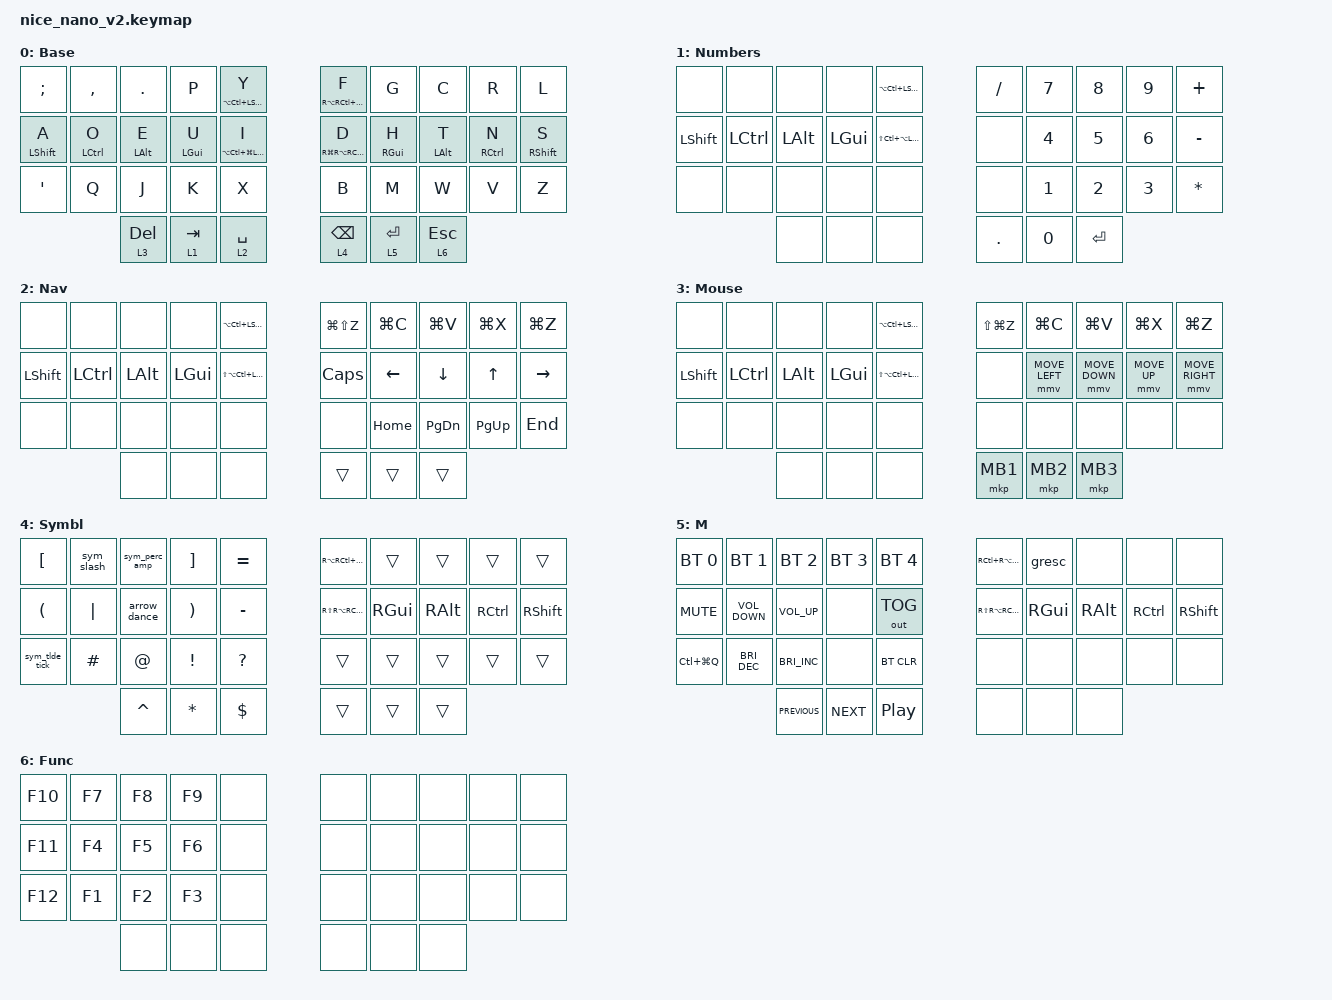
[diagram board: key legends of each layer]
#include <behaviors.dtsi>
#include <dt-bindings/zmk/bt.h>
#include <dt-bindings/zmk/keys.h>
#include <dt-bindings/zmk/outputs.h>
#include <dt-bindings/zmk/pointing.h>

/ {
    chosen { zmk,physical-layout = &foostan_corne_5col_layout; };

    behaviors {
        lh_balanced: lh_balanced {
            compatible = "zmk,behavior-hold-tap";
            label = "LH_BALANCED";
            bindings = <&kp>, <&kp>;

            #binding-cells = <2>;
            tapping-term-ms = <200>;
            quick-tap-ms = <125>;
            flavor = "tap-preferred";
            require-prior-idle-ms = <150>;
            hold-trigger-key-positions = <5 6 7 8 9 15 16 17 18 19 25 26 27 28 29 33 34 35>;
            hold-trigger-on-release;
        };

        rh_balanced: rh_balanced {
            compatible = "zmk,behavior-hold-tap";
            label = "RH_BALANCED";
            bindings = <&kp>, <&kp>;

            #binding-cells = <2>;
            tapping-term-ms = <200>;
            quick-tap-ms = <125>;
            flavor = "tap-preferred";
            hold-trigger-key-positions = <0 1 2 3 4 10 11 12 13 14 20 21 22 23 24 30 31 32>;
            require-prior-idle-ms = <150>;
            hold-trigger-on-release;
        };

        sym_slash: sym_slash {
            compatible = "zmk,behavior-mod-morph";
            label = "SYM_SLASH";
            #binding-cells = <0>;
            bindings = <&kp SLASH>, <&kp BACKSLASH>;

            mods = <(MOD_RSFT)>;
        };

        sym_tlde_tick: sym_tlde_tick {
            compatible = "zmk,behavior-mod-morph";
            label = "SYM_TLDE_TICK";
            bindings = <&kp GRAVE>, <&kp TILDE>;

            #binding-cells = <0>;
            mods = <(MOD_RSFT)>;
        };

        sym_dash: sym_dash {
            compatible = "zmk,behavior-mod-morph";
            label = "SYM_DASH";
            bindings = <&kp MINUS>, <&kp UNDERSCORE>;

            #binding-cells = <0>;
            mods = <(MOD_RSFT)>;
        };

        sym_qstn_excl: sym_qstn_excl {
            compatible = "zmk,behavior-mod-morph";
            label = "SYM_QSTN_EXCL";
            bindings = <&kp QUESTION>, <&kp EXCLAMATION>;

            #binding-cells = <0>;
            mods = <(MOD_RSFT)>;
        };

        sym_perc_amp: sym_perc_amp {
            compatible = "zmk,behavior-mod-morph";
            label = "SYM_PERC_AMP";
            bindings = <&kp AMPERSAND>, <&kp PERCENT>;

            #binding-cells = <0>;
            mods = <(MOD_RSFT)>;
        };

        arrow_dance: arrow_dance {
            compatible = "zmk,behavior-tap-dance";
            label = "ARROW_DANCE";
            #binding-cells = <0>;
            bindings = <&dash_arrow>, <&equal_arrow>;
        };

        sym_pipe_hash: sym_pipe_hash {
            compatible = "zmk,behavior-mod-morph";
            label = "SYM_PIPE_HASH";
            bindings = <&kp PIPE>, <&kp HASH>;

            #binding-cells = <0>;
            mods = <(MOD_RSFT)>;
        };

        sym_tags: sym_tags {
            compatible = "zmk,behavior-mod-morph";
            label = "SYM_TAGS";
            bindings = <&kp LESS_THAN>, <&kp GREATER_THAN>;

            #binding-cells = <0>;
            mods = <(MOD_RSFT)>;
        };

        sym_brackets: sym_brackets {
            compatible = "zmk,behavior-mod-morph";
            label = "SYM_BRACKETS";
            bindings = <&kp LEFT_BRACKET>, <&kp RIGHT_BRACKET>;

            #binding-cells = <0>;
            mods = <(MOD_RSFT)>;
        };

        sym_braces: sym_braces {
            compatible = "zmk,behavior-mod-morph";
            label = "SYM_BRACES";
            bindings = <&kp LEFT_BRACE>, <&kp RIGHT_BRACE>;

            #binding-cells = <0>;
            mods = <(MOD_RSFT)>;
        };

        sym_parens: sym_parens {
            compatible = "zmk,behavior-mod-morph";
            label = "SYM_PARENS";
            bindings = <&kp LEFT_PARENTHESIS>, <&kp RIGHT_PARENTHESIS>;

            #binding-cells = <0>;
            mods = <(MOD_RSFT)>;
        };
    };

    combos {
        compatible = "zmk,combos";

        caps-lock {
            bindings = <&caps_word>;
            key-positions = <10 19>;
        };
    };

    macros {
        dash_arrow: dash_arrow {
            compatible = "zmk,behavior-macro";
            #binding-cells = <0>;
            bindings = <&kp MINUS &kp GT>;
            label = "DASH_ARROW";
        };

        equal_arrow: equal_arrow {
            compatible = "zmk,behavior-macro";
            #binding-cells = <0>;
            bindings = <&kp EQUAL &kp GT>;
            label = "EQUAL_ARROW";
        };
    };

    keymap {
        compatible = "zmk,keymap";

        Base {
            bindings = <
  &kp SEMICOLON          &kp COMMA             &kp DOT              &kp P                &lh_balanced LA(LC(LSHIFT)) Y            &rh_balanced RA(RC(RSHIFT)) F           &kp G                &kp C                &kp R                 &kp L
  &lh_balanced LSHIFT A  &lh_balanced LCTRL O  &lh_balanced LALT E  &lh_balanced LGUI U  &lh_balanced LA(LC(LG(LEFT_SHIFT))) I    &rh_balanced RG(RA(RC(RIGHT_SHIFT))) D  &rh_balanced RGUI H  &rh_balanced LALT T  &rh_balanced RCTRL N  &rh_balanced RSHIFT S
  &kp SINGLE_QUOTE       &kp Q                 &kp J                &kp K                &kp X                                    &kp B                                   &kp M                &kp W                &kp V                 &kp Z
                                               &lt 3 DELETE         &lt 1 TAB            &lt 2 SPACE                              &lt 4 BACKSPACE                         &lt 5 ENTER          &lt 6 ESCAPE
            >;

            label = "Base";
            display-name = "Base";
        };

        Numbers {
            bindings = <
  &none       &none      &none     &none     &kp LA(LC(LSHIFT))      &kp SLASH   &kp N7        &kp N8        &kp N9        &kp PLUS
  &kp LSHIFT  &kp LCTRL  &kp LALT  &kp LGUI  &kp LS(LC(LA(LGUI)))    &none       &kp NUMBER_4  &kp N5        &kp NUMBER_6  &kp MINUS
  &none       &none      &none     &none     &none                   &none       &kp NUMBER_1  &kp NUMBER_2  &kp NUMBER_3  &kp STAR
                         &none     &none     &none                   &kp PERIOD  &kp N0        &kp ENTER
            >;

            label = "Nums";
            display-name = "Numbers";
        };

        Navigation {
            bindings = <
  &none       &none      &none     &none     &kp LA(LC(LSHIFT))      &kp LG(LS(Z))  &kp LG(C)  &kp LG(V)      &kp LG(X)     &kp LG(Z)
  &kp LSHIFT  &kp LCTRL  &kp LALT  &kp LGUI  &kp LS(LA(LC(LGUI)))    &kp CAPS       &kp LEFT   &kp DOWN       &kp UP_ARROW  &kp RIGHT
  &none       &none      &none     &none     &none                   &none          &kp HOME   &kp PAGE_DOWN  &kp PAGE_UP   &kp END
                         &none     &none     &none                   &trans         &trans     &trans
            >;

            label = "Nav";
            display-name = "Nav";
        };

        Mouse {
            bindings = <
  &none       &none      &none     &none     &kp LA(LC(LSHIFT))      &kp LS(LG(Z))  &kp LG(C)       &kp LG(V)       &kp LG(X)     &kp LG(Z)
  &kp LSHIFT  &kp LCTRL  &kp LALT  &kp LGUI  &kp LS(LA(LC(LGUI)))    &none          &mmv MOVE_LEFT  &mmv MOVE_DOWN  &mmv MOVE_UP  &mmv MOVE_RIGHT
  &none       &none      &none     &none     &none                   &none          &none           &none           &none         &none
                         &none     &none     &none                   &mkp MB1       &mkp MB2        &mkp MB3
            >;

            label = "Mouse";
        };

        Symbols {
            bindings = <
  &kp LEFT_BRACKET      &sym_slash  &sym_perc_amp  &kp RIGHT_BRACKET      &kp EQUAL       &kp RA(RC(RSHFT))     &trans    &trans    &trans     &trans
  &kp LEFT_PARENTHESIS  &kp PIPE    &arrow_dance   &kp RIGHT_PARENTHESIS  &kp MINUS       &kp RS(RA(RC(RGUI)))  &kp RGUI  &kp RALT  &kp RCTRL  &kp RSHIFT
  &sym_tlde_tick        &kp HASH    &kp AT_SIGN    &kp EXCLAMATION        &kp QUESTION    &trans                &trans    &trans    &trans     &trans
                                    &kp CARET      &kp ASTERISK           &kp DOLLAR      &trans                &trans    &trans
            >;

            label = "Symbl";
            display-name = "Symbl";
        };

        Media {
            bindings = <
  &bt BT_SEL 0   &bt BT_SEL 1          &bt BT_SEL 2          &bt BT_SEL 3  &bt BT_SEL 4    &kp RC(RA(RSHIFT))    &gresc    &none     &none      &none
  &kp C_MUTE     &kp C_VOLUME_DOWN     &kp C_VOLUME_UP       &none         &out OUT_TOG    &kp RS(RA(RC(RGUI)))  &kp RGUI  &kp RALT  &kp RCTRL  &kp RSHIFT
  &kp LC(LG(Q))  &kp C_BRIGHTNESS_DEC  &kp C_BRIGHTNESS_INC  &none         &bt BT_CLR      &none                 &none     &none     &none      &none
                                       &kp C_PREVIOUS        &kp C_NEXT    &kp C_PP        &none                 &none     &none
            >;

            label = "Media";
            display-name = "M";
        };

        Func {
            bindings = <
  &kp F10  &kp F7  &kp F8  &kp F9  &none    &none  &none  &none  &none  &none
  &kp F11  &kp F4  &kp F5  &kp F6  &none    &none  &none  &none  &none  &none
  &kp F12  &kp F1  &kp F2  &kp F3  &none    &none  &none  &none  &none  &none
                   &none   &none   &none    &none  &none  &none
            >;

            label = "Func";
        };
    };
};
